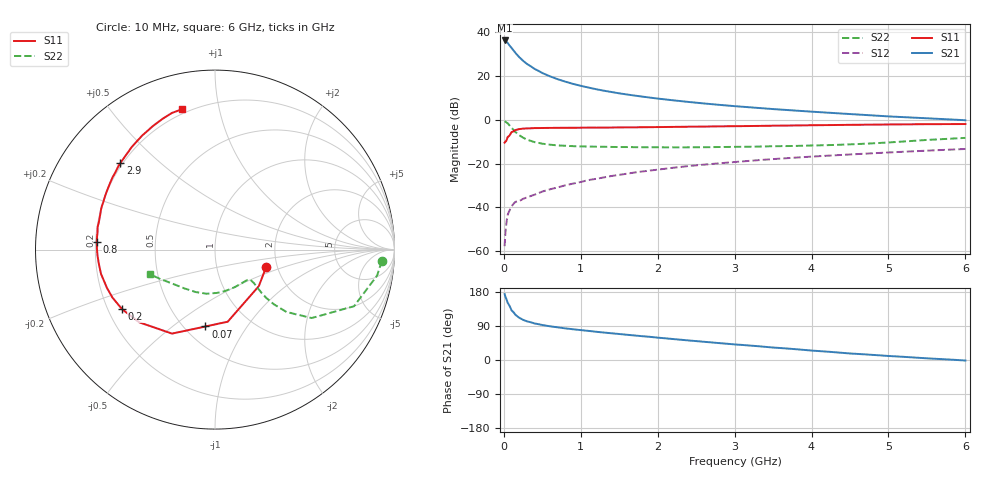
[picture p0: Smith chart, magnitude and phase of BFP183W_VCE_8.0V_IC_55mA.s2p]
! (c) 2017  Infineon Technologies AG, Munich
! Infineon Technologies  Discrete & RF Semiconductors
! BFP183W
! VCE =  8.0 V,  IC =  55 mA
! Common Emitter S-Parameters:  Jan 2017
# GHz  S  MA  R  50
!  f  S11  S21  S12  S22
! GHz  MAG  ANG  MAG  ANG  MAG  ANG  MAG  ANG
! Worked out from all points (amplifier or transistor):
!   77 points, 10 MHz to 6 GHz, reference 50 ohm
!   highest |S21| = 36.3 dB at 10 MHz (marker M1)
!   |S21| within 3 dB of that: start of sweep to 90.05 MHz
!   unconditionally stable (mu >= 1): 629.3 MHz to 3.397 GHz
!   at 130 MHz: K = 0.41, MSG = 34.9 dB, |S12| = -38.2 dB
!   at 2.2 GHz: K = 1.08, MAG = 13.7 dB, |S12| = -21.9 dB
!   at 6 GHz: K = 0.85, MSG = 6.6 dB, |S12| = -13.3 dB
!   S11 on the Smith chart (normalised r, x): 10 MHz: 1.75, -0.37; 70 MHz: 0.63, -0.66; 200 MHz: 0.26, -0.28; 800 MHz: 0.21, +0.03; 2.9 GHz: 0.19, +0.38; 6 GHz: 0.18, +0.78
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0.01  0.3013 -18.6  65.29 173.9  0.0013 73.0  0.9314 -3.9
0.02  0.3179 -39.9  64.22 167.4  0.0026 85.1  0.9147 -9.1
0.05  0.408 -80.0  57.41 151.0  0.0067 65.6  0.8362 -22.2
0.07  0.4316 -97.1  51.39 144.3  0.0082 61.6  0.7611 -26.7
0.1  0.5257 -117.1  44.09 131.2  0.0106 57.9  0.6597 -35.3
0.15  0.5851 -136.2  34.05 119.4  0.0134 50.8  0.529 -41.1
0.2  0.615 -147.3  27.15 111.5  0.0139 50.7  0.4468 -42.9
0.25  0.6309 -155.0  22.44 106.0  0.0157 48.7  0.3924 -43.3
0.3  0.6387 -160.5  19.02 102.1  0.0169 51.2  0.3541 -42.9
0.4  0.6494 -168.0  14.6 96.4  0.0195 55.6  0.3097 -41.7
0.5  0.6522 -173.3  11.78 92.3  0.023 57.9  0.2857 -40.7
0.6  0.6556 -177.2  9.887 89.0  0.0259 59.9  0.2708 -40.6
0.7  0.6577 179.5  8.501 86.2  0.0286 62.7  0.2608 -40.4
0.8  0.66 176.3  7.467 83.4  0.032 64.4  0.256 -41.0
1.1  0.6659 169.0  5.473 76.8  0.0421 67.1  0.2462 -44.2
1.5  0.6721 161.1  4.043 68.6  0.0554 67.6  0.2394 -50.8
2.1  0.6873 150.1  2.931 57.2  0.0766 66.4  0.2358 -64.0
2.9  0.7143 137.5  2.132 42.9  0.1052 62.4  0.2405 -85.2
3.1  0.7201 134.7  1.997 39.7  0.1124 61.3  0.2424 -90.5
4.1  0.7567 121.3  1.503 23.5  0.1481 54.9  0.2617 -117.4
5.1  0.7875 110.9  1.177 9.5  0.1835 48.0  0.3126 -144.0
6  0.8034 103.1  0.982 -1.4  0.2164 41.4  0.3878 -159.4
